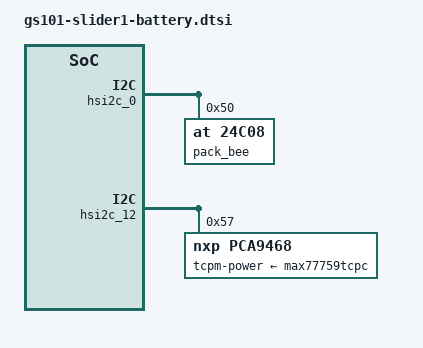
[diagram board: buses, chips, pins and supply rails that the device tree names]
// SPDX-License-Identifier: GPL-2.0-only
/*
 * Battery device tree entries specific to slider v1
 *
 * Copyright 2020 Google LLC
 *
 */

#include "gs101/gs101-pinctrl.h"

/ {
	fragment@gcpm {
		target-path = "/";
		__overlay__ {

			google,cpm {
				google,chg-power-supplies = "main-charger",
							    "pca9468-mains";

				pinctrl-names = "default";
				pinctrl-0 = <&charge_pump_en>;

				google,dc-en = <&gpp23 7 0>;
				google,dc-en-value;

				google,tcpm-power-supply = <&max77759tcpc>;
				google,pps-awake;
			};
		};
	};
};

&pinctrl_5 {
	/* XAPC_USI12_CTSN_CSN -> CHARGE_PUMP_EN_R */
	charge_pump_en: charge-pump-en {
		samsung,pins = "gpp23-7";
		samsung,pin-function = <EXYNOS_PIN_FUNC_OUTPUT>;
		samsung,pin-pud = <EXYNOS_PIN_PULL_NONE>;
		samsung,pin-drv = <GS101_PIN_DRV_2_5_MA>;
	};
};

&hsi2c_0 {
	#address-cells = <1>;
	#size-cells = <0>;
	status = "okay";

	pinctrl-names = "default";
	pinctrl-0 = <&hsi2c0_bus>;

	pack_bee: m24c08@50 {
		status = "okay";
		compatible = "at,24c08";

		reg = <0x50>;
	};
};

&hsi2c_12 {

	#address-cells = <1>;
	#size-cells = <0>;
	status = "okay";

	pca9468@57 {
		compatible = "nxp,pca9468";
		reg = <0x57>;

		/* TODO: add IRQ pca9468,irq-gpio = <xxx>; */

		pca9468,input-current-limit = <2000000>; /* 2.0A */
		pca9468,charging-current = <4000000>; /* 4A */

		pca9468,input-itopoff = <500000>; /* 500mA */
		pca9468,switching-frequency = <3>; /* 980KHz */

		/* disable USBC NTC */
		pca9468,ntc-threshold = <0>; /* disabled */

		/* enable passthrough PPS */
		google,tcpm-power-supply = <&max77759tcpc>;

		/* USBC thermal zone */
		google,usb-port-tz-name = "usbc-therm-adc";
	};
};
